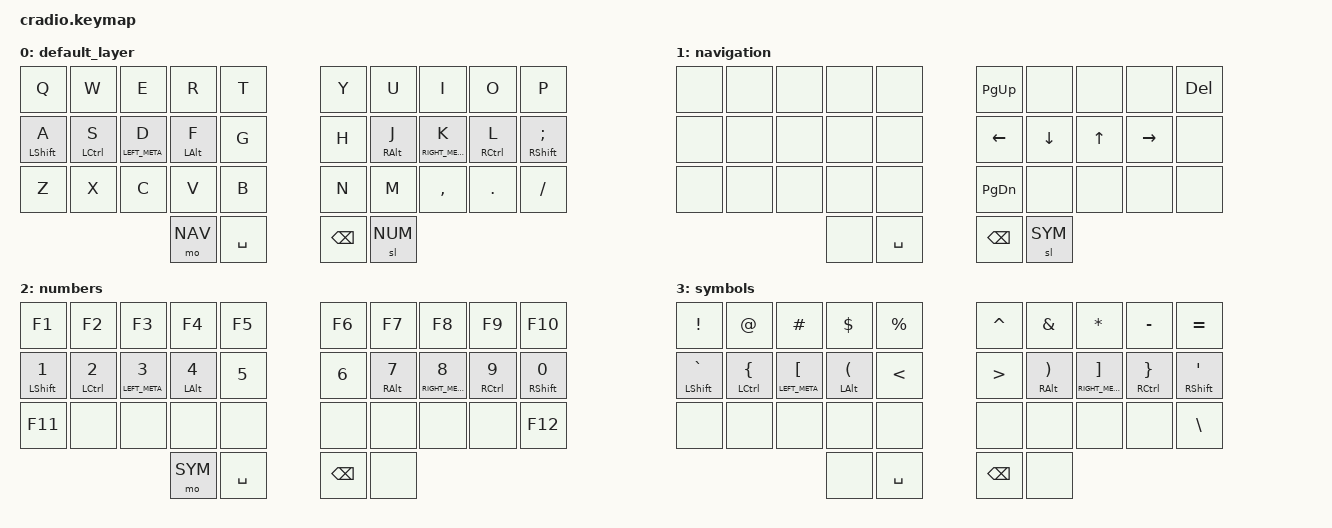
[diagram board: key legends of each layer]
#include <behaviors.dtsi>
#include <dt-bindings/zmk/keys.h>
#include <dt-bindings/zmk/bt.h>

// Layer definitions
#define BASE 0
#define NAV 1
#define NUM 2
#define SYM 3

// Left hand
#define MY_A  &mt LEFT_SHIFT A
#define MY_S  &mt LEFT_CONTROL S
#define MY_D  &mt LEFT_META D
#define MY_F  &mt LEFT_ALT F

#define MY_N1  &mt LEFT_SHIFT N1
#define MY_N2  &mt LEFT_CONTROL N2
#define MY_N3  &mt LEFT_META N3
#define MY_N4  &mt LEFT_ALT N4

#define MY_GRAVE  &mt LEFT_SHIFT GRAVE
#define MY_LBRC  &mt LEFT_CONTROL LBRC
#define MY_LBKT  &mt LEFT_META LBKT
#define MY_LPAR  &mt LEFT_ALT LPAR

// Right hand
#define MY_J  &mt RIGHT_ALT J
#define MY_K  &mt RIGHT_META K
#define MY_L  &mt RIGHT_CONTROL L
#define MY_SEMICOLON  &mt RIGHT_SHIFT SEMICOLON

#define MY_N7  &mt RIGHT_ALT N7
#define MY_N8  &mt RIGHT_META N8
#define MY_N9  &mt RIGHT_CONTROL N9
#define MY_N0  &mt RIGHT_SHIFT N0

#define MY_RPAR  &mt RIGHT_ALT RPAR 
#define MY_RBKT  &mt RIGHT_META RBKT
#define MY_RBRC  &mt RIGHT_CONTROL RBRC
#define MY_SINGLE_QUOTE  &mt RIGHT_SHIFT SINGLE_QUOTE



&mt {
    flavor = "tap-preferred";
    tapping-term-ms = <150>;
    quick-tap-ms = <150>;
    global-quick-tap;
};

/ {
  macros {
    write_vim: write_vim{
      compatible = "zmk,behavior-macro";
      #binding-cells = <0>;
      bindings = <&kp COLON>, <&kp W>, <&kp ENTER>;
    };
    write_quit_vim: write_quit_vim{
      compatible = "zmk,behavior-macro";
      #binding-cells = <0>;
      bindings = <&kp COLON>, <&kp W>, <&kp Q>, <&kp ENTER>;
    };
    ultrathink: ultrathink {
      compatible = "zmk,behavior-macro";
      #binding-cells = <0>;
      bindings = <&kp U>, <&kp L>, <&kp T>, <&kp R>, <&kp A>, <&kp T>, <&kp H>, <&kp I>, <&kp N>, <&kp K>;
    };
  };
  combos {
      compatible = "zmk,combos";
      combo_esc {
        timeout-ms = <60>;
        key-positions = <0 1>;
        bindings = <&kp ESC>;
      };
      combo_enter {
        timeout-ms = <60>;
        key-positions = <14 15>;
        bindings = <&kp ENTER>;
      };
      combo_write_vim {
        timeout-ms = <60>;
        key-positions = <8 9>;
        bindings = <&write_vim>;
      };
      combo_write_quit_vim {
        timeout-ms = <60>;
        key-positions = <7 8 9>;
        bindings = <&write_quit_vim>;
      };
      combo_caps_lock {
        timeout-ms = <60>;
        key-positions = <21 22 23>;
        bindings = <&caps_word>;
      };
      combo_tab {
        timeout-ms = <60>;
        key-positions = <1 2>;
        bindings = <&kp TAB>;
      };
      combo_ultrathink {
        timeout-ms = <60>;
        key-positions = <5 6 7>;
        bindings = <&ultrathink>;
      };
  };

  keymap {
    compatible = "zmk,keymap";

    default_layer {
      bindings = <
        &kp Q  &kp W  &kp E  &kp R    &kp T                               &kp Y          &kp U  &kp I      &kp O     &kp P
        MY_A   MY_S   MY_D   MY_F     &kp G                               &kp H          MY_J   MY_K       MY_L      MY_SEMICOLON
        &kp Z  &kp X  &kp C  &kp V    &kp B                               &kp N          &kp M  &kp COMMA  &kp DOT   &kp SLASH
                             &mo NAV  &kp SPACE                           &kp BACKSPACE  &sl NUM
      >;
    };
    navigation {
      bindings = <
        &none  &none  &none  &none  &none                                 &kp PAGE_UP    &none     &none    &none      &kp DELETE
        &none  &none  &none  &none  &none                                 &kp LEFT &kp DOWN &kp UP &kp RIGHT  &none
        &none  &none  &none  &none  &none                                 &kp PAGE_DOWN  &none     &none     &none      &none
                             &none  &kp SPACE                             &kp BACKSPACE  &sl SYM
      >;
    };
    numbers {
      bindings = <
        &kp F1   &kp F2  &kp F3  &kp F4  &kp F5                           &kp F6        &kp F7  &kp F8  &kp F9  &kp F10
        MY_N1    MY_N2   MY_N3   MY_N4   &kp N5                           &kp N6         MY_N7  MY_N8   MY_N9   MY_N0
        &kp F11  &none   &none   &none   &none                            &none          &none  &none   &none   &kp F12
                              &mo SYM  &kp SPACE                          &kp BACKSPACE  &none
      >;
    };
    symbols {
      bindings = <
        &kp EXCL  &kp AT   &kp HASH  &kp DLLR  &kp PERCENT                &kp CARET      &kp AMPERSAND  &kp STAR  &kp MINUS  &kp EQUAL
        MY_GRAVE  MY_LBRC  MY_LBKT   MY_LPAR   &kp LT                     &kp GT         MY_RPAR        MY_RBKT   MY_RBRC    MY_SINGLE_QUOTE
        &none     &none    &none     &none     &none                      &none          &none          &none     &none      &kp BACKSLASH
                                       &none   &kp SPACE                  &kp BACKSPACE  &none
      >;
    };
  };
}; 




